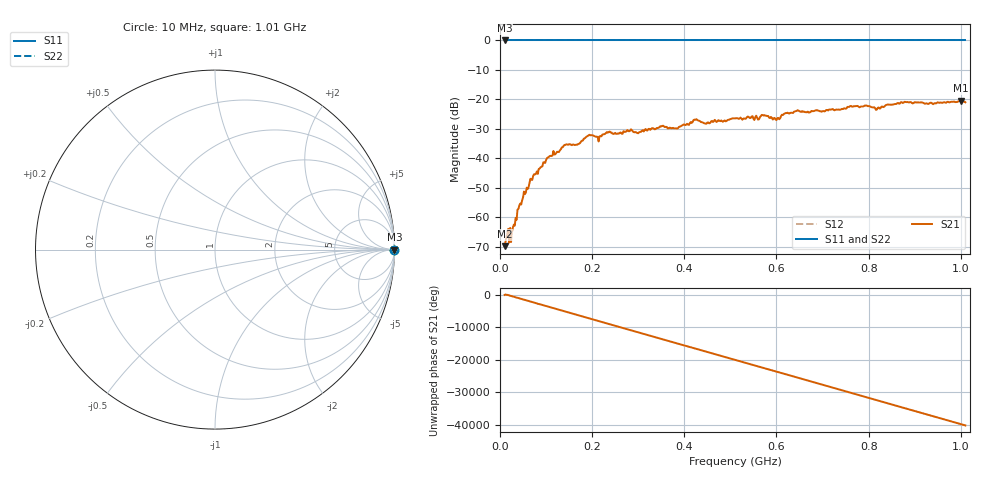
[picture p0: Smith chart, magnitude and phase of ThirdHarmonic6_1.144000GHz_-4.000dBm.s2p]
! 8/16/2025 11:16:23 AM
! C:\ANRITSUVNA\TEMP\TEMP.S2P
! CHANNEL.1
! TR.MEASUREMENT
! RAW.DATA
! RF.CORRECTION.OFF
! AVERAGING.OFF
! IF.BANDWIDTH: 5KHZ
! SWEEPTYPE:  FREQ.SWEEP(Linear)
! Reference Plane Port Info
! PORT:  PORT1  PORT2
! DISTANCE:  0  m  0  m
! TIME:  0  s  0  s
! PHASE.OFFSET:  0  deg.  0  deg.
! LOSS:  0  dB  0  dB
! REF.LOSS:  0  dB  0  dB
! REF.FREQ:  0  Hz  0  Hz
! Power Info
! POWER:  -20  dBm  -20  dBm
! EFF.POWER:  -20  dBm  -20  dBm
! SOURCE.ATTEN:  0  dB  0  dB
! TEST.ATTEN:  0  dB  0  dB
# GHZ S RI R 50.0
! FREQ.GHZ  S11RE  S11IM  S21RE  S21IM  S12RE  S12IM  S22RE  S22IM
!; PortSelection: Port_12
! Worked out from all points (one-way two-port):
!   501 points, 10 MHz to 1.01 GHz, reference 50 ohm
!   highest |S21| = -20.43 dB at 1 GHz (marker M1); lowest = -69.9 dB at 10 MHz (marker M2)
!   lowest |S11| = 0.0 dB at 10 MHz (marker M3)
!   |S11| at or under -10 dB: nowhere
!   |S22| runs from 0.0 to 0.0 dB; largest |S21 - S12| = 1.1
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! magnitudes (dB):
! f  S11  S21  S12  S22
! 10 MHz  0.0  -69.9  0.0  0.0
! 18 MHz  0.0  -64.0  0.0  0.0
! 28 MHz  0.0  -63.5  0.0  0.0
! 42 MHz  0.0  -56.0  0.0  0.0
! 76 MHz  0.0  -45.5  0.0  0.0
! 104 MHz  0.0  -39.7  0.0  0.0
! 138 MHz  0.0  -35.8  0.0  0.0
! 178 MHz  0.0  -34.0  0.0  0.0
! 194 MHz  0.0  -32.0  0.0  0.0
! 216 MHz  0.0  -32.6  0.0  0.0
! 344 MHz  0.0  -29.6  0.0  0.0
! 382 MHz  0.0  -29.9  0.0  0.0
! 424 MHz  0.0  -26.9  0.0  0.0
! 446 MHz  0.0  -28.2  0.0  0.0
! 510 MHz  0.0  -26.5  0.0  0.0
! 572 MHz  0.0  -25.5  0.0  0.0
! 602 MHz  0.0  -26.3  0.0  0.0
! 620 MHz  0.0  -24.6  0.0  0.0
! 678 MHz  0.0  -24.0  0.0  0.0
! 844 MHz  0.0  -21.8  0.0  0.0
! 1 GHz  0.0  -20.4  0.0  0.0
! 1.01 GHz  0.0  -21.0  0.0  0.0
